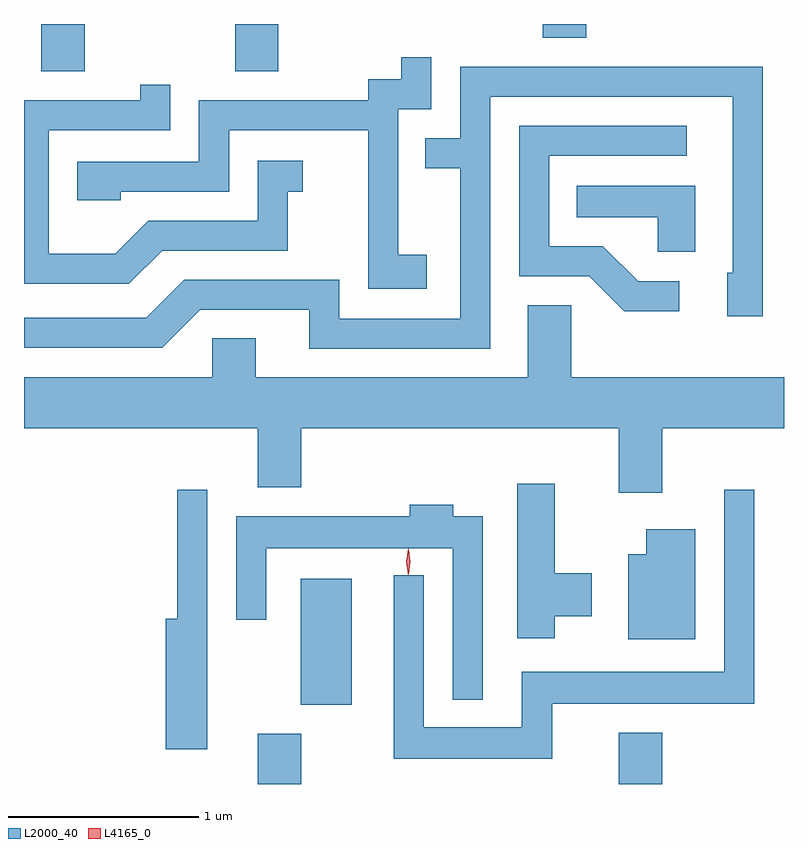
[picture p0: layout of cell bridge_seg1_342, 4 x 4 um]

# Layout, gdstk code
import gdstk
lib = gdstk.Library(unit=1e-6, precision=1e-09)
def R(c, l, rs):  # rectangles x0, y0, x1, y1
    for r in rs: c.add(gdstk.rectangle(r[:2], r[2:], *l))
def P(c, l, *ps):  # polygons
    for p in ps: c.add(gdstk.Polygon(p, *l))
L2000_40 = (2000, 40)
L4165_0 = (4165, 0)

bridge_seg1_342 = lib.new_cell('bridge_seg1_342')
R(bridge_seg1_342, L2000_40, [(909.531,888.824,909.759,889.089), (911.431,888.824,911.659,889.094), (909.756,889.241,910.024,889.904), (908.391,892.576,908.619,892.824), (909.411,892.576,909.639,892.824), (911.031,892.751,911.259,892.824)])
P(bridge_seg1_342, L2000_40, [(910.419,891.609),(910.269,891.609),(910.269,892.376),(910.444,892.376),(910.444,892.648),(910.286,892.648),(910.286,892.534),(910.111,892.534),(910.111,892.424),(909.221,892.424),(909.221,892.099),(908.581,892.099),(908.581,891.896),(908.809,891.896),(908.809,891.941),(909.379,891.941),(909.379,892.266),(910.111,892.266),(910.111,891.431),(910.419,891.431)],
  [(910.754,892.441),(912.031,892.441),(912.031,891.514),(912.001,891.514),(912.001,891.286),(912.189,891.286),(912.189,892.599),(910.596,892.599),(910.596,892.224),(910.413,892.224),(910.413,892.066),(910.596,892.066),(910.596,891.274),(909.959,891.274),(909.959,891.479),(909.144,891.479),(908.944,891.279),(908.3,891.279),(908.3,891.121),(909.027,891.121),(909.227,891.321),(909.801,891.321),(909.801,891.116),(910.754,891.116)],
  [(909.027,891.631),(909.689,891.631),(909.689,891.941),(909.768,891.941),(909.768,892.104),(909.531,892.104),(909.531,891.789),(908.954,891.789),(908.779,891.614),(908.429,891.614),(908.429,892.266),(909.069,892.266),(909.069,892.503),(908.911,892.503),(908.911,892.424),(908.3,892.424),(908.3,891.456),(908.852,891.456)],
  [(911.748,891.469),(911.532,891.469),(911.347,891.654),(911.064,891.654),(911.064,892.131),(911.788,892.131),(911.788,892.289),(910.906,892.289),(910.906,891.496),(911.274,891.496),(911.459,891.311),(911.748,891.311)],
  [(911.834,891.974),(911.208,891.974),(911.208,891.806),(911.636,891.806),(911.636,891.626),(911.834,891.626)],
  [(911.659,890.696),(912.3,890.696),(912.3,890.964),(911.179,890.964),(911.179,891.344),(910.951,891.344),(910.951,890.964),(909.519,890.964),(909.519,891.169),(909.291,891.169),(909.291,890.964),(908.3,890.964),(908.3,890.696),(909.531,890.696),(909.531,890.386),(909.759,890.386),(909.759,890.696),(911.431,890.696),(911.431,890.356),(911.659,890.356)],
  [(911.094,889.706),(911.289,889.706),(911.289,889.934),(911.094,889.934),(911.094,890.404),(910.896,890.404),(910.896,889.591),(911.094,889.591)],
  [(909.264,890.373),(909.106,890.373),(909.106,889.694),(909.046,889.694),(909.046,889.006),(909.264,889.006)],
  [(911.079,889.246),(912.144,889.246),(912.144,890.373),(911.986,890.373),(911.986,889.414),(910.921,889.414),(910.921,889.124),(910.404,889.124),(910.404,889.923),(910.246,889.923),(910.246,888.956),(911.079,888.956)],
  [(910.714,890.234),(910.559,890.234),(910.559,890.294),(910.331,890.294),(910.331,890.234),(909.416,890.234),(909.416,889.688),(909.574,889.688),(909.574,890.066),(910.556,890.066),(910.556,889.268),(910.714,889.268)],
  [(911.834,890.164),(911.576,890.164),(911.576,890.034),(911.481,890.034),(911.481,889.586),(911.834,889.586)])
P(bridge_seg1_342, L4165_0, [(910.323,889.927),(910.314,889.994),(910.323,890.06),(910.324,890.06),(910.324,890.06),(910.334,889.994),(910.324,889.927),(910.324,889.927)],
  [(910.322,889.923),(910.322,889.924),(910.312,889.993),(910.322,890.062),(910.322,890.063),(910.323,890.062),(910.332,889.993),(910.323,889.924)])

lib.write_gds('bridge_seg1_342.gds')
